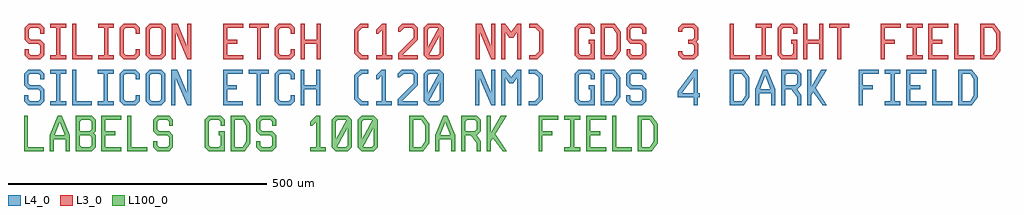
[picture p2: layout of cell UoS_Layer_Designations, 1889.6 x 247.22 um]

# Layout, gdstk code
import gdstk
lib = gdstk.Library(unit=1e-6, precision=1e-09)
def R(c, l, rs):  # rectangles x0, y0, x1, y1
    for r in rs: c.add(gdstk.rectangle(r[:2], r[2:], *l))
def P(c, l, *ps):  # polygons
    for p in ps: c.add(gdstk.Polygon(p, *l))
L3_0 = (3, 0)
L4_0 = (4, 0)
L100_0 = (100, 0)

uos_layer_designations = lib.new_cell('UoS_Layer_Designations')
R(uos_layer_designations, L3_0, [(267.394,7.553,275.086,76.783), (1002.009,7.553,1009.701,76.783)])
P(uos_layer_designations, L3_0, [(-809.529,57.553),(-809.529,69.091),(-817.222,76.783),(-840.299,76.783),(-847.991,69.091),(-847.991,46.014),(-840.299,38.322),(-821.068,38.322),(-817.222,34.476),(-817.222,19.091),(-821.068,15.245),(-836.452,15.245),(-840.299,19.091),(-840.299,26.783),(-847.991,26.783),(-847.991,15.245),(-840.299,7.553),(-817.222,7.553),(-809.529,15.245),(-809.529,38.322),(-817.222,46.014),(-836.452,46.014),(-840.299,49.86),(-840.299,65.245),(-836.452,69.091),(-821.068,69.091),(-817.222,65.245),(-817.222,57.553)],
  [(-797.991,76.783),(-767.222,76.783),(-767.222,69.091),(-778.76,69.091),(-778.76,15.245),(-767.222,15.245),(-767.222,7.553),(-797.991,7.553),(-797.991,15.245),(-786.452,15.245),(-786.452,69.091),(-797.991,69.091)],
  [(-755.683,76.783),(-747.991,76.783),(-747.991,15.245),(-717.222,15.245),(-717.222,7.553),(-755.683,7.553)],
  [(-705.683,76.783),(-674.914,76.783),(-674.914,69.091),(-686.452,69.091),(-686.452,15.245),(-674.914,15.245),(-674.914,7.553),(-705.683,7.553),(-705.683,15.245),(-694.145,15.245),(-694.145,69.091),(-705.683,69.091)],
  [(-663.375,69.091),(-655.683,76.783),(-632.606,76.783),(-624.914,69.091),(-624.914,57.553),(-632.606,57.553),(-632.606,65.245),(-636.452,69.091),(-651.837,69.091),(-655.683,65.245),(-655.683,19.091),(-651.837,15.245),(-636.452,15.245),(-632.606,19.091),(-632.606,26.783),(-624.914,26.783),(-624.914,15.245),(-632.606,7.553),(-655.683,7.553),(-663.375,15.245)],
  [(-613.375,69.091),(-605.683,76.783),(-601.837,76.783),(-601.837,69.091),(-605.683,65.245),(-605.683,19.091),(-601.837,15.245),(-586.452,15.245),(-582.606,19.091),(-582.606,65.245),(-586.452,69.091),(-601.837,69.091),(-601.837,76.783),(-582.606,76.783),(-574.914,69.091),(-574.914,15.245),(-582.606,7.553),(-605.683,7.553),(-613.375,15.245)],
  [(-555.683,7.553),(-555.683,61.399),(-532.606,7.553),(-524.914,7.553),(-524.914,76.783),(-532.606,76.783),(-532.606,30.63),(-551.837,76.783),(-563.375,76.783),(-563.375,7.553)],
  [(-463.375,76.783),(-424.914,76.783),(-424.914,69.091),(-455.683,69.091),(-455.683,46.014),(-436.452,46.014),(-436.452,38.322),(-455.683,38.322),(-455.683,15.245),(-424.914,15.245),(-424.914,7.553),(-463.375,7.553)],
  [(-413.375,76.783),(-374.914,76.783),(-374.914,69.091),(-390.299,69.091),(-390.299,7.553),(-397.991,7.553),(-397.991,69.091),(-413.375,69.091)],
  [(-363.375,69.091),(-355.683,76.783),(-332.606,76.783),(-324.914,69.091),(-324.914,57.553),(-332.606,57.553),(-332.606,65.245),(-336.452,69.091),(-351.837,69.091),(-355.683,65.245),(-355.683,19.091),(-351.837,15.245),(-336.452,15.245),(-332.606,19.091),(-332.606,26.783),(-324.914,26.783),(-324.914,15.245),(-332.606,7.553),(-355.683,7.553),(-363.375,15.245)],
  [(-313.375,76.783),(-305.683,76.783),(-305.683,46.014),(-282.606,46.014),(-282.606,76.783),(-274.914,76.783),(-274.914,7.553),(-282.606,7.553),(-282.606,38.322),(-305.683,38.322),(-305.683,7.553),(-313.375,7.553)],
  [(-182.606,69.091),(-194.145,69.091),(-201.837,61.399),(-201.837,22.937),(-194.145,15.245),(-182.606,15.245),(-182.606,7.553),(-197.991,7.553),(-209.529,19.091),(-209.529,65.245),(-197.991,76.783),(-182.606,76.783)],
  [(-163.375,57.553),(-155.683,65.245),(-155.683,15.245),(-167.222,15.245),(-167.222,7.553),(-136.452,7.553),(-136.452,15.245),(-147.991,15.245),(-147.991,76.783),(-155.683,76.783),(-167.222,65.245),(-167.222,57.553)],
  [(-121.068,61.399),(-113.375,69.091),(-97.991,69.091),(-94.145,65.245),(-94.145,49.86),(-124.914,19.091),(-124.914,7.553),(-86.452,7.553),(-86.452,15.245),(-117.222,15.245),(-86.452,46.014),(-86.452,69.091),(-94.145,76.783),(-117.222,76.783),(-124.914,69.091),(-124.914,61.399)],
  [(-74.914,69.091),(-67.222,76.783),(-63.375,76.783),(-63.375,69.091),(-67.222,65.245),(-67.222,19.091),(-63.375,15.245),(-47.991,15.245),(-44.145,19.091),(-44.145,65.245),(-47.991,69.091),(-63.375,69.091),(-63.375,76.783),(-44.145,76.783),(-36.452,69.091),(-36.452,15.245),(-44.145,7.553),(-67.222,7.553),(-74.914,15.245)],
  [(-67.222,11.399),(-36.452,69.091),(-44.145,72.937),(-74.914,15.245)],
  [(32.778,7.553),(32.778,61.399),(55.855,7.553),(63.548,7.553),(63.548,76.783),(55.855,76.783),(55.855,30.63),(36.625,76.783),(25.086,76.783),(25.086,7.553)],
  [(82.778,7.553),(82.778,61.399),(90.471,49.86),(98.163,49.86),(105.855,61.399),(105.855,7.553),(113.548,7.553),(113.548,76.783),(105.855,76.783),(94.317,61.399),(82.778,76.783),(75.086,76.783),(75.086,7.553)],
  [(128.932,69.091),(140.471,69.091),(148.163,61.399),(148.163,22.937),(140.471,15.245),(128.932,15.245),(128.932,7.553),(144.317,7.553),(155.855,19.091),(155.855,65.245),(144.317,76.783),(128.932,76.783)],
  [(217.394,69.091),(225.086,76.783),(248.163,76.783),(255.855,69.091),(255.855,57.553),(248.163,57.553),(248.163,65.245),(244.317,69.091),(228.932,69.091),(225.086,65.245),(225.086,19.091),(228.932,15.245),(244.317,15.245),(248.163,19.091),(248.163,38.322),(244.317,38.322),(244.317,46.014),(255.855,46.014),(255.855,7.553),(225.086,7.553),(217.394,15.245)],
  [(267.394,69.091),(290.471,69.091),(298.163,57.553),(298.163,26.783),(290.471,15.245),(267.394,15.245),(267.394,7.553),(294.317,7.553),(305.855,22.937),(305.855,61.399),(294.317,76.783),(267.394,76.783)],
  [(355.855,57.553),(355.855,69.091),(348.163,76.783),(325.086,76.783),(317.394,69.091),(317.394,46.014),(325.086,38.322),(344.317,38.322),(348.163,34.476),(348.163,19.091),(344.317,15.245),(328.932,15.245),(325.086,19.091),(325.086,26.783),(317.394,26.783),(317.394,15.245),(325.086,7.553),(348.163,7.553),(355.855,15.245),(355.855,38.322),(348.163,46.014),(328.932,46.014),(325.086,49.86),(325.086,65.245),(328.932,69.091),(344.317,69.091),(348.163,65.245),(348.163,57.553)],
  [(417.394,69.091),(425.086,76.783),(448.163,76.783),(455.855,69.091),(455.855,46.014),(452.009,42.168),(455.855,38.322),(455.855,15.245),(448.163,7.553),(425.086,7.553),(417.394,15.245),(417.394,22.937),(425.086,22.937),(425.086,19.091),(428.932,15.245),(444.317,15.245),(448.163,19.091),(448.163,34.476),(444.317,38.322),(436.625,38.322),(436.625,46.014),(444.317,46.014),(448.163,49.86),(448.163,65.245),(444.317,69.091),(428.932,69.091),(425.086,65.245),(425.086,61.399),(417.394,61.399)],
  [(517.394,76.783),(525.086,76.783),(525.086,15.245),(555.855,15.245),(555.855,7.553),(517.394,7.553)],
  [(567.394,76.783),(598.163,76.783),(598.163,69.091),(586.625,69.091),(586.625,15.245),(598.163,15.245),(598.163,7.553),(567.394,7.553),(567.394,15.245),(578.932,15.245),(578.932,69.091),(567.394,69.091)],
  [(609.701,69.091),(617.394,76.783),(640.471,76.783),(648.163,69.091),(648.163,57.553),(640.471,57.553),(640.471,65.245),(636.625,69.091),(621.24,69.091),(617.394,65.245),(617.394,19.091),(621.24,15.245),(636.625,15.245),(640.471,19.091),(640.471,38.322),(636.625,38.322),(636.625,46.014),(648.163,46.014),(648.163,7.553),(617.394,7.553),(609.701,15.245)],
  [(659.701,76.783),(667.394,76.783),(667.394,46.014),(690.471,46.014),(690.471,76.783),(698.163,76.783),(698.163,7.553),(690.471,7.553),(690.471,38.322),(667.394,38.322),(667.394,7.553),(659.701,7.553)],
  [(709.701,76.783),(748.163,76.783),(748.163,69.091),(732.778,69.091),(732.778,7.553),(725.086,7.553),(725.086,69.091),(709.701,69.091)],
  [(809.701,76.783),(848.163,76.783),(848.163,69.091),(817.394,69.091),(817.394,46.014),(836.625,46.014),(836.625,38.322),(817.394,38.322),(817.394,7.553),(809.701,7.553)],
  [(859.701,76.783),(890.471,76.783),(890.471,69.091),(878.932,69.091),(878.932,15.245),(890.471,15.245),(890.471,7.553),(859.701,7.553),(859.701,15.245),(871.24,15.245),(871.24,69.091),(859.701,69.091)],
  [(902.009,76.783),(940.471,76.783),(940.471,69.091),(909.701,69.091),(909.701,46.014),(928.932,46.014),(928.932,38.322),(909.701,38.322),(909.701,15.245),(940.471,15.245),(940.471,7.553),(902.009,7.553)],
  [(952.009,76.783),(959.701,76.783),(959.701,15.245),(990.471,15.245),(990.471,7.553),(952.009,7.553)],
  [(1002.009,69.091),(1025.086,69.091),(1032.778,57.553),(1032.778,26.783),(1025.086,15.245),(1002.009,15.245),(1002.009,7.553),(1028.932,7.553),(1040.471,22.937),(1040.471,61.399),(1028.932,76.783),(1002.009,76.783)])
R(uos_layer_designations, L4_0, [(267.015,-81.27,274.707,-12.04), (447.784,-81.27,455.476,-12.04), (517.015,-81.27,524.707,-12.04), (667.015,-81.27,674.707,-12.04), (959.322,-81.27,967.015,-12.04), (567.015,-58.193,605.476,-50.501)])
P(uos_layer_designations, L4_0, [(-809.908,-31.27),(-809.908,-19.732),(-817.601,-12.04),(-840.678,-12.04),(-848.37,-19.732),(-848.37,-42.809),(-840.678,-50.501),(-821.447,-50.501),(-817.601,-54.347),(-817.601,-69.732),(-821.447,-73.578),(-836.832,-73.578),(-840.678,-69.732),(-840.678,-62.04),(-848.37,-62.04),(-848.37,-73.578),(-840.678,-81.27),(-817.601,-81.27),(-809.908,-73.578),(-809.908,-50.501),(-817.601,-42.809),(-836.832,-42.809),(-840.678,-38.963),(-840.678,-23.578),(-836.832,-19.732),(-821.447,-19.732),(-817.601,-23.578),(-817.601,-31.27)],
  [(-798.37,-12.04),(-767.601,-12.04),(-767.601,-19.732),(-779.139,-19.732),(-779.139,-73.578),(-767.601,-73.578),(-767.601,-81.27),(-798.37,-81.27),(-798.37,-73.578),(-786.832,-73.578),(-786.832,-19.732),(-798.37,-19.732)],
  [(-756.062,-12.04),(-748.37,-12.04),(-748.37,-73.578),(-717.601,-73.578),(-717.601,-81.27),(-756.062,-81.27)],
  [(-706.062,-12.04),(-675.293,-12.04),(-675.293,-19.732),(-686.832,-19.732),(-686.832,-73.578),(-675.293,-73.578),(-675.293,-81.27),(-706.062,-81.27),(-706.062,-73.578),(-694.524,-73.578),(-694.524,-19.732),(-706.062,-19.732)],
  [(-663.755,-19.732),(-656.062,-12.04),(-632.985,-12.04),(-625.293,-19.732),(-625.293,-31.27),(-632.985,-31.27),(-632.985,-23.578),(-636.832,-19.732),(-652.216,-19.732),(-656.062,-23.578),(-656.062,-69.732),(-652.216,-73.578),(-636.832,-73.578),(-632.985,-69.732),(-632.985,-62.04),(-625.293,-62.04),(-625.293,-73.578),(-632.985,-81.27),(-656.062,-81.27),(-663.755,-73.578)],
  [(-613.755,-19.732),(-606.062,-12.04),(-602.216,-12.04),(-602.216,-19.732),(-606.062,-23.578),(-606.062,-69.732),(-602.216,-73.578),(-586.832,-73.578),(-582.985,-69.732),(-582.985,-23.578),(-586.832,-19.732),(-602.216,-19.732),(-602.216,-12.04),(-582.985,-12.04),(-575.293,-19.732),(-575.293,-73.578),(-582.985,-81.27),(-606.062,-81.27),(-613.755,-73.578)],
  [(-556.062,-81.27),(-556.062,-27.424),(-532.985,-81.27),(-525.293,-81.27),(-525.293,-12.04),(-532.985,-12.04),(-532.985,-58.193),(-552.216,-12.04),(-563.755,-12.04),(-563.755,-81.27)],
  [(-463.755,-12.04),(-425.293,-12.04),(-425.293,-19.732),(-456.062,-19.732),(-456.062,-42.809),(-436.832,-42.809),(-436.832,-50.501),(-456.062,-50.501),(-456.062,-73.578),(-425.293,-73.578),(-425.293,-81.27),(-463.755,-81.27)],
  [(-413.755,-12.04),(-375.293,-12.04),(-375.293,-19.732),(-390.678,-19.732),(-390.678,-81.27),(-398.37,-81.27),(-398.37,-19.732),(-413.755,-19.732)],
  [(-363.755,-19.732),(-356.062,-12.04),(-332.985,-12.04),(-325.293,-19.732),(-325.293,-31.27),(-332.985,-31.27),(-332.985,-23.578),(-336.832,-19.732),(-352.216,-19.732),(-356.062,-23.578),(-356.062,-69.732),(-352.216,-73.578),(-336.832,-73.578),(-332.985,-69.732),(-332.985,-62.04),(-325.293,-62.04),(-325.293,-73.578),(-332.985,-81.27),(-356.062,-81.27),(-363.755,-73.578)],
  [(-313.755,-12.04),(-306.062,-12.04),(-306.062,-42.809),(-282.985,-42.809),(-282.985,-12.04),(-275.293,-12.04),(-275.293,-81.27),(-282.985,-81.27),(-282.985,-50.501),(-306.062,-50.501),(-306.062,-81.27),(-313.755,-81.27)],
  [(-182.985,-19.732),(-194.524,-19.732),(-202.216,-27.424),(-202.216,-65.886),(-194.524,-73.578),(-182.985,-73.578),(-182.985,-81.27),(-198.37,-81.27),(-209.908,-69.732),(-209.908,-23.578),(-198.37,-12.04),(-182.985,-12.04)],
  [(-163.755,-31.27),(-156.062,-23.578),(-156.062,-73.578),(-167.601,-73.578),(-167.601,-81.27),(-136.832,-81.27),(-136.832,-73.578),(-148.37,-73.578),(-148.37,-12.04),(-156.062,-12.04),(-167.601,-23.578),(-167.601,-31.27)],
  [(-121.447,-27.424),(-113.755,-19.732),(-98.37,-19.732),(-94.524,-23.578),(-94.524,-38.963),(-125.293,-69.732),(-125.293,-81.27),(-86.832,-81.27),(-86.832,-73.578),(-117.601,-73.578),(-86.832,-42.809),(-86.832,-19.732),(-94.524,-12.04),(-117.601,-12.04),(-125.293,-19.732),(-125.293,-27.424)],
  [(-75.293,-19.732),(-67.601,-12.04),(-63.755,-12.04),(-63.755,-19.732),(-67.601,-23.578),(-67.601,-69.732),(-63.755,-73.578),(-48.37,-73.578),(-44.524,-69.732),(-44.524,-23.578),(-48.37,-19.732),(-63.755,-19.732),(-63.755,-12.04),(-44.524,-12.04),(-36.832,-19.732),(-36.832,-73.578),(-44.524,-81.27),(-67.601,-81.27),(-75.293,-73.578)],
  [(-67.601,-77.424),(-36.832,-19.732),(-44.524,-15.886),(-75.293,-73.578)],
  [(32.399,-81.27),(32.399,-27.424),(55.476,-81.27),(63.168,-81.27),(63.168,-12.04),(55.476,-12.04),(55.476,-58.193),(36.245,-12.04),(24.707,-12.04),(24.707,-81.27)],
  [(82.399,-81.27),(82.399,-27.424),(90.092,-38.963),(97.784,-38.963),(105.476,-27.424),(105.476,-81.27),(113.168,-81.27),(113.168,-12.04),(105.476,-12.04),(93.938,-27.424),(82.399,-12.04),(74.707,-12.04),(74.707,-81.27)],
  [(128.553,-19.732),(140.092,-19.732),(147.784,-27.424),(147.784,-65.886),(140.092,-73.578),(128.553,-73.578),(128.553,-81.27),(143.938,-81.27),(155.476,-69.732),(155.476,-23.578),(143.938,-12.04),(128.553,-12.04)],
  [(217.015,-19.732),(224.707,-12.04),(247.784,-12.04),(255.476,-19.732),(255.476,-31.27),(247.784,-31.27),(247.784,-23.578),(243.938,-19.732),(228.553,-19.732),(224.707,-23.578),(224.707,-69.732),(228.553,-73.578),(243.938,-73.578),(247.784,-69.732),(247.784,-50.501),(243.938,-50.501),(243.938,-42.809),(255.476,-42.809),(255.476,-81.27),(224.707,-81.27),(217.015,-73.578)],
  [(267.015,-19.732),(290.092,-19.732),(297.784,-31.27),(297.784,-62.04),(290.092,-73.578),(267.015,-73.578),(267.015,-81.27),(293.938,-81.27),(305.476,-65.886),(305.476,-27.424),(293.938,-12.04),(267.015,-12.04)],
  [(355.476,-31.27),(355.476,-19.732),(347.784,-12.04),(324.707,-12.04),(317.015,-19.732),(317.015,-42.809),(324.707,-50.501),(343.938,-50.501),(347.784,-54.347),(347.784,-69.732),(343.938,-73.578),(328.553,-73.578),(324.707,-69.732),(324.707,-62.04),(317.015,-62.04),(317.015,-73.578),(324.707,-81.27),(347.784,-81.27),(355.476,-73.578),(355.476,-50.501),(347.784,-42.809),(328.553,-42.809),(324.707,-38.963),(324.707,-23.578),(328.553,-19.732),(343.938,-19.732),(347.784,-23.578),(347.784,-31.27)],
  [(424.707,-58.193),(459.322,-58.193),(459.322,-65.886),(417.015,-65.886),(417.015,-54.347),(447.784,-12.04),(455.476,-12.04),(455.476,-15.886)],
  [(517.015,-19.732),(540.092,-19.732),(547.784,-31.27),(547.784,-62.04),(540.092,-73.578),(517.015,-73.578),(517.015,-81.27),(543.938,-81.27),(555.476,-65.886),(555.476,-27.424),(543.938,-12.04),(517.015,-12.04)],
  [(574.707,-81.27),(574.707,-54.347),(586.245,-23.578),(597.784,-54.347),(597.784,-81.27),(605.476,-81.27),(605.476,-50.501),(590.092,-12.04),(582.399,-12.04),(567.015,-50.501),(567.015,-81.27)],
  [(617.015,-12.04),(628.553,-12.04),(628.553,-19.732),(624.707,-23.578),(624.707,-42.809),(643.938,-42.809),(647.784,-38.963),(647.784,-23.578),(643.938,-19.732),(628.553,-19.732),(628.553,-12.04),(647.784,-12.04),(655.476,-19.732),(655.476,-42.809),(647.784,-50.501),(624.707,-50.501),(624.707,-81.27),(617.015,-81.27)],
  [(636.245,-50.501),(647.784,-65.886),(647.784,-81.27),(655.476,-81.27),(655.476,-62.04),(647.784,-50.501)],
  [(667.015,-81.27),(674.707,-81.27),(674.707,-62.04),(705.476,-12.04),(693.938,-12.04),(674.707,-46.655),(674.707,-12.04),(667.015,-12.04)],
  [(674.707,-50.501),(697.784,-81.27),(705.476,-81.27),(682.399,-46.655)],
  [(767.015,-12.04),(805.476,-12.04),(805.476,-19.732),(774.707,-19.732),(774.707,-42.809),(793.938,-42.809),(793.938,-50.501),(774.707,-50.501),(774.707,-81.27),(767.015,-81.27)],
  [(817.015,-12.04),(847.784,-12.04),(847.784,-19.732),(836.245,-19.732),(836.245,-73.578),(847.784,-73.578),(847.784,-81.27),(817.015,-81.27),(817.015,-73.578),(828.553,-73.578),(828.553,-19.732),(817.015,-19.732)],
  [(859.322,-12.04),(897.784,-12.04),(897.784,-19.732),(867.015,-19.732),(867.015,-42.809),(886.245,-42.809),(886.245,-50.501),(867.015,-50.501),(867.015,-73.578),(897.784,-73.578),(897.784,-81.27),(859.322,-81.27)],
  [(909.322,-12.04),(917.015,-12.04),(917.015,-73.578),(947.784,-73.578),(947.784,-81.27),(909.322,-81.27)],
  [(959.322,-19.732),(982.399,-19.732),(990.092,-31.27),(990.092,-62.04),(982.399,-73.578),(959.322,-73.578),(959.322,-81.27),(986.245,-81.27),(997.784,-65.886),(997.784,-27.424),(986.245,-12.04),(959.322,-12.04)])
R(uos_layer_designations, L100_0, [(-449.128,-170.437,-441.435,-101.207), (-102.974,-170.437,-95.281,-101.207), (47.026,-170.437,54.719,-101.207), (339.334,-170.437,347.026,-101.207), (-799.128,-147.36,-760.666,-139.668), (-52.974,-147.36,-14.512,-139.668)])
P(uos_layer_designations, L100_0, [(339.334,-108.899),(362.411,-108.899),(370.103,-120.437),(370.103,-151.207),(362.411,-162.745),(339.334,-162.745),(339.334,-170.437),(366.257,-170.437),(377.795,-155.053),(377.795,-116.591),(366.257,-101.207),(339.334,-101.207)],
  [(289.334,-101.207),(297.026,-101.207),(297.026,-162.745),(327.795,-162.745),(327.795,-170.437),(289.334,-170.437)],
  [(239.334,-101.207),(277.795,-101.207),(277.795,-108.899),(247.026,-108.899),(247.026,-131.976),(266.257,-131.976),(266.257,-139.668),(247.026,-139.668),(247.026,-162.745),(277.795,-162.745),(277.795,-170.437),(239.334,-170.437)],
  [(197.026,-101.207),(227.795,-101.207),(227.795,-108.899),(216.257,-108.899),(216.257,-162.745),(227.795,-162.745),(227.795,-170.437),(197.026,-170.437),(197.026,-162.745),(208.565,-162.745),(208.565,-108.899),(197.026,-108.899)],
  [(147.026,-101.207),(185.488,-101.207),(185.488,-108.899),(154.719,-108.899),(154.719,-131.976),(173.949,-131.976),(173.949,-139.668),(154.719,-139.668),(154.719,-170.437),(147.026,-170.437)],
  [(54.719,-139.668),(77.795,-170.437),(85.488,-170.437),(62.411,-135.822)],
  [(47.026,-170.437),(54.719,-170.437),(54.719,-151.207),(85.488,-101.207),(73.949,-101.207),(54.719,-135.822),(54.719,-101.207),(47.026,-101.207)],
  [(16.257,-139.668),(27.795,-155.053),(27.795,-170.437),(35.488,-170.437),(35.488,-151.207),(27.795,-139.668)],
  [(-2.974,-101.207),(8.565,-101.207),(8.565,-108.899),(4.719,-112.745),(4.719,-131.976),(23.949,-131.976),(27.795,-128.13),(27.795,-112.745),(23.949,-108.899),(8.565,-108.899),(8.565,-101.207),(27.795,-101.207),(35.488,-108.899),(35.488,-131.976),(27.795,-139.668),(4.719,-139.668),(4.719,-170.437),(-2.974,-170.437)],
  [(-45.281,-170.437),(-45.281,-143.514),(-33.743,-112.745),(-22.205,-143.514),(-22.205,-170.437),(-14.512,-170.437),(-14.512,-139.668),(-29.897,-101.207),(-37.589,-101.207),(-52.974,-139.668),(-52.974,-170.437)],
  [(-102.974,-108.899),(-79.897,-108.899),(-72.205,-120.437),(-72.205,-151.207),(-79.897,-162.745),(-102.974,-162.745),(-102.974,-170.437),(-76.051,-170.437),(-64.512,-155.053),(-64.512,-116.591),(-76.051,-101.207),(-102.974,-101.207)],
  [(-195.281,-166.591),(-164.512,-108.899),(-172.205,-105.053),(-202.974,-162.745)],
  [(-202.974,-108.899),(-195.281,-101.207),(-191.435,-101.207),(-191.435,-108.899),(-195.281,-112.745),(-195.281,-158.899),(-191.435,-162.745),(-176.051,-162.745),(-172.205,-158.899),(-172.205,-112.745),(-176.051,-108.899),(-191.435,-108.899),(-191.435,-101.207),(-172.205,-101.207),(-164.512,-108.899),(-164.512,-162.745),(-172.205,-170.437),(-195.281,-170.437),(-202.974,-162.745)],
  [(-245.281,-166.591),(-214.512,-108.899),(-222.205,-105.053),(-252.974,-162.745)],
  [(-252.974,-108.899),(-245.281,-101.207),(-241.435,-101.207),(-241.435,-108.899),(-245.281,-112.745),(-245.281,-158.899),(-241.435,-162.745),(-226.051,-162.745),(-222.205,-158.899),(-222.205,-112.745),(-226.051,-108.899),(-241.435,-108.899),(-241.435,-101.207),(-222.205,-101.207),(-214.512,-108.899),(-214.512,-162.745),(-222.205,-170.437),(-245.281,-170.437),(-252.974,-162.745)],
  [(-291.435,-120.437),(-283.743,-112.745),(-283.743,-162.745),(-295.281,-162.745),(-295.281,-170.437),(-264.512,-170.437),(-264.512,-162.745),(-276.051,-162.745),(-276.051,-101.207),(-283.743,-101.207),(-295.281,-112.745),(-295.281,-120.437)],
  [(-360.666,-120.437),(-360.666,-108.899),(-368.358,-101.207),(-391.435,-101.207),(-399.128,-108.899),(-399.128,-131.976),(-391.435,-139.668),(-372.205,-139.668),(-368.358,-143.514),(-368.358,-158.899),(-372.205,-162.745),(-387.589,-162.745),(-391.435,-158.899),(-391.435,-151.207),(-399.128,-151.207),(-399.128,-162.745),(-391.435,-170.437),(-368.358,-170.437),(-360.666,-162.745),(-360.666,-139.668),(-368.358,-131.976),(-387.589,-131.976),(-391.435,-128.13),(-391.435,-112.745),(-387.589,-108.899),(-372.205,-108.899),(-368.358,-112.745),(-368.358,-120.437)],
  [(-449.128,-108.899),(-426.051,-108.899),(-418.358,-120.437),(-418.358,-151.207),(-426.051,-162.745),(-449.128,-162.745),(-449.128,-170.437),(-422.205,-170.437),(-410.666,-155.053),(-410.666,-116.591),(-422.205,-101.207),(-449.128,-101.207)],
  [(-499.128,-108.899),(-491.435,-101.207),(-468.358,-101.207),(-460.666,-108.899),(-460.666,-120.437),(-468.358,-120.437),(-468.358,-112.745),(-472.205,-108.899),(-487.589,-108.899),(-491.435,-112.745),(-491.435,-158.899),(-487.589,-162.745),(-472.205,-162.745),(-468.358,-158.899),(-468.358,-139.668),(-472.205,-139.668),(-472.205,-131.976),(-460.666,-131.976),(-460.666,-170.437),(-491.435,-170.437),(-499.128,-162.745)],
  [(-560.666,-120.437),(-560.666,-108.899),(-568.358,-101.207),(-591.435,-101.207),(-599.128,-108.899),(-599.128,-131.976),(-591.435,-139.668),(-572.205,-139.668),(-568.358,-143.514),(-568.358,-158.899),(-572.205,-162.745),(-587.589,-162.745),(-591.435,-158.899),(-591.435,-151.207),(-599.128,-151.207),(-599.128,-162.745),(-591.435,-170.437),(-568.358,-170.437),(-560.666,-162.745),(-560.666,-139.668),(-568.358,-131.976),(-587.589,-131.976),(-591.435,-128.13),(-591.435,-112.745),(-587.589,-108.899),(-572.205,-108.899),(-568.358,-112.745),(-568.358,-120.437)],
  [(-649.128,-101.207),(-641.435,-101.207),(-641.435,-162.745),(-610.666,-162.745),(-610.666,-170.437),(-649.128,-170.437)],
  [(-699.128,-101.207),(-660.666,-101.207),(-660.666,-108.899),(-691.435,-108.899),(-691.435,-131.976),(-672.205,-131.976),(-672.205,-139.668),(-691.435,-139.668),(-691.435,-162.745),(-660.666,-162.745),(-660.666,-170.437),(-699.128,-170.437)],
  [(-749.128,-101.207),(-737.589,-101.207),(-737.589,-108.899),(-741.435,-112.745),(-741.435,-158.899),(-737.589,-162.745),(-722.205,-162.745),(-718.358,-158.899),(-718.358,-143.514),(-722.205,-139.668),(-741.435,-139.668),(-741.435,-131.976),(-722.205,-131.976),(-718.358,-128.13),(-718.358,-112.745),(-722.205,-108.899),(-737.589,-108.899),(-737.589,-101.207),(-718.358,-101.207),(-710.666,-108.899),(-710.666,-131.976),(-714.512,-135.822),(-710.666,-139.668),(-710.666,-162.745),(-718.358,-170.437),(-749.128,-170.437)],
  [(-791.435,-170.437),(-791.435,-143.514),(-779.897,-112.745),(-768.358,-143.514),(-768.358,-170.437),(-760.666,-170.437),(-760.666,-139.668),(-776.051,-101.207),(-783.743,-101.207),(-799.128,-139.668),(-799.128,-170.437)],
  [(-849.128,-101.207),(-841.435,-101.207),(-841.435,-162.745),(-810.666,-162.745),(-810.666,-170.437),(-849.128,-170.437)])

lib.write_gds('UoS_Layer_Designations.gds')
